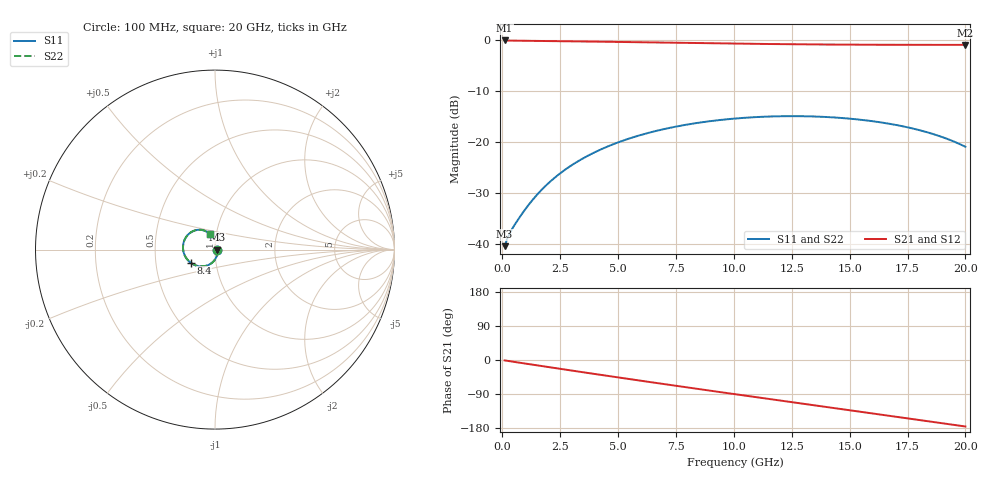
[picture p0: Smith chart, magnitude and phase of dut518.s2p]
! Touchstone file exported from HFSS 2026.1.0
!  File:  C:/ffzhzh/LocalFiles/Ansys_Project_Files/temp_train_TSV_RDL_518_1783110072_37876.aedt
!  Generated:  04:29:16 AM Jul  4, 2026
!  Design:  TSV_RDL
!  Project:  temp_train_TSV_RDL_518_1783110072_37876
! Variables:
!  h_bsmrdl = 5.38um
!  h_ox = 20um
!  h_rdl = 5um
!  h_sub = 72.84um
!  h_tmrdl = 4.91um
!  h_tsv = 72.84um
!  h_via = 3um
!  l_bsmrdl = 609.83um
!  l_sub = 2897.89um
!  l_tmrdl = 135.39um
!  m_sub = 200um
!  pitch = 27.51um
!  r_tsv = 7.82um
!  s_tmrdl = 10um
!  w_bsmrdl = 24.85um
!  w_sub = 500um
!  w_tmrdl = 17.43um
!  x_tsv_center1 = 144.105um
!  x_tsv_center2 = 778.785um
!  x_tsv_center3 = 931.605um
!  x_tsv_center4 = 1566.285um
!  x_tsv_center5 = 1719.105um
!  x_tsv_center6 = 2353.785um
# GHz S MA R 50.000000
! Terminal data exported
! Port[1] = TM_RDL1_1_T1
! Port[2] = TM_RDL5_1_T1
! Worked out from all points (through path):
!   200 points, 100 MHz to 20 GHz, reference 50 ohm
!   highest |S21| = -0.08 dB at 100 MHz (marker M1); lowest = -0.9 dB at 20 GHz (marker M2)
!   group delay of S21, straight-line fit = 24.2 ps
!   lowest |S11| = -40.4 dB at 100 MHz (marker M3), VSWR 1.02, Z = 51 + j0.0289 ohm
!   |S11| at or under -10 dB: start of sweep to end of sweep
!   |S22| runs from -40.4 to -14.9 dB; largest |S21 - S12| = 1.4e-13
!   S11 on the Smith chart (normalised r, x): 100 MHz: 1.02, +0.00; 8.4 GHz: 0.76, -0.11; 20 GHz: 0.93, +0.16
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0.1  0.009531 1.7  0.9905 -1.1  0.9905 -1.1  0.009531 1.7
! Gamma 0 0 0 0
! Port Impedance 50 0 50 0
0.3  0.01249 -11.5  0.9877 -3.0  0.9877 -3.0  0.01249 -11.5
0.5  0.01502 -26.9  0.9861 -4.9  0.9861 -4.9  0.01502 -26.9
1  0.02204 -52.3  0.9837 -9.5  0.9837 -9.5  0.02204 -52.4
1.5  0.03043 -67.2  0.9812 -14.1  0.9812 -14.1  0.03043 -67.2
1.9  0.03775 -75.7  0.979 -17.8  0.979 -17.8  0.03775 -75.7
2.4  0.04737 -84.2  0.9759 -22.4  0.9759 -22.4  0.04737 -84.2
3.5  0.06942 -99.2  0.9686 -32.5  0.9686 -32.5  0.06942 -99.2
4.2  0.08351 -107.6  0.9636 -38.8  0.9636 -38.8  0.08351 -107.6
5  0.09919 -116.5  0.9577 -46.0  0.9577 -46.0  0.09918 -116.6
5.9  0.1158 -126.2  0.9511 -54.0  0.9511 -54.0  0.1158 -126.2
6.8  0.131 -135.5  0.9445 -61.9  0.9445 -61.9  0.131 -135.5
8.4  0.1536 -151.3  0.9331 -75.9  0.9331 -75.9  0.1536 -151.4
9.2  0.1625 -159.0  0.9277 -82.9  0.9277 -82.9  0.1625 -159.0
10.1  0.1703 -167.5  0.922 -90.7  0.922 -90.7  0.1703 -167.5
11.7  0.1784 177.8  0.9132 -104.4  0.9132 -104.4  0.1784 177.8
13.4  0.1782 162.6  0.9058 -118.9  0.9058 -118.9  0.1782 162.6
15  0.1696 148.7  0.901 -132.5  0.901 -132.5  0.1696 148.6
16.7  0.1513 134.2  0.8981 -147.0  0.8981 -147.0  0.1513 134.1
18.5  0.1218 119.5  0.8969 -162.5  0.8969 -162.5  0.1219 119.4
19.3  0.1056 113.4  0.8967 -169.4  0.8967 -169.4  0.1056 113.2
20  0.08991 108.4  0.8966 -175.5  0.8966 -175.5  0.08992 108.2
